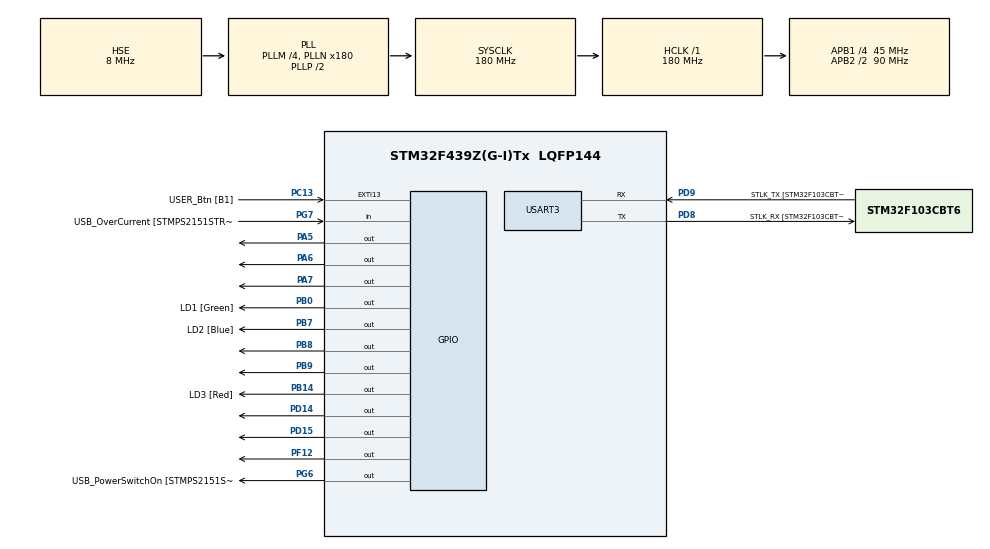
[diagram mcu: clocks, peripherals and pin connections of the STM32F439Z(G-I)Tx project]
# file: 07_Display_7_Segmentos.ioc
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Mcu.Family=STM32F4
Mcu.Name=STM32F439Z(G-I)Tx
Mcu.Package=LQFP144
NVIC.PriorityGroup=NVIC_PRIORITYGROUP_4
PA13.GPIO_Label=TMS
PA13.Mode=Serial_Wire
PA13.Signal=SYS_JTMS-SWDIO
PA14.GPIO_Label=TCK
PA14.Mode=Serial_Wire
PA14.Signal=SYS_JTCK-SWCLK
PA5.Signal=GPIO_Output
PA6.Signal=GPIO_Output
PA7.Signal=GPIO_Output
PB0.GPIO_Label=LD1 [Green]
PB0.Signal=GPIO_Output
PB14.GPIO_Label=LD3 [Red]
PB14.Signal=GPIO_Output
PB7.GPIO_Label=LD2 [Blue]
PB7.Signal=GPIO_Output
PB8.Signal=GPIO_Output
PB9.Signal=GPIO_Output
PC13.GPIO_Label=USER_Btn [B1]
PC13.Signal=GPXTI13
PC14/OSC32_IN.Mode=LSE-External-Oscillator
PC14/OSC32_IN.Signal=RCC_OSC32_IN
PC15/OSC32_OUT.Mode=LSE-External-Oscillator
PC15/OSC32_OUT.Signal=RCC_OSC32_OUT
PD14.Signal=GPIO_Output
PD15.Signal=GPIO_Output
PD8.GPIO_Label=STLK_RX [STM32F103CBT6_PA3]
PD8.Mode=Asynchronous
PD8.Signal=USART3_TX
PD9.GPIO_Label=STLK_TX [STM32F103CBT6_PA2]
PD9.Mode=Asynchronous
PD9.Signal=USART3_RX
PF12.Signal=GPIO_Output
PG6.GPIO_Label=USB_PowerSwitchOn [STMPS2151STR_EN]
PG6.Signal=GPIO_Output
PG7.GPIO_Label=USB_OverCurrent [STMPS2151STR_FAULT]
PG7.Signal=GPIO_Input
PH0/OSC_IN.GPIO_Label=MCO [STM32F103CBT6_PA8]
PH0/OSC_IN.Mode=HSE-External-Oscillator
PH0/OSC_IN.Signal=RCC_OSC_IN
PH1/OSC_OUT.Mode=HSE-External-Oscillator
PH1/OSC_OUT.Signal=RCC_OSC_OUT
ProjectManager.HeapSize=0x200
ProjectManager.StackSize=0x400
ProjectManager.TargetToolchain=STM32CubeIDE
RCC.48MHZClocksFreq_Value=51428571.428571425
RCC.AHBFreq_Value=180000000
RCC.APB1CLKDivider=RCC_HCLK_DIV4
RCC.APB1Freq_Value=45000000
RCC.APB1TimFreq_Value=90000000
RCC.APB2CLKDivider=RCC_HCLK_DIV2
RCC.APB2Freq_Value=90000000
RCC.APB2TimFreq_Value=180000000
RCC.CortexFreq_Value=180000000
RCC.HCLKFreq_Value=180000000
RCC.HSE_VALUE=8000000
RCC.HSI_VALUE=16000000
RCC.PLLM=4
RCC.PLLMUL=RCC_PLL_MUL9
RCC.PLLN=180
RCC.PLLQ=7
RCC.PLLSourceVirtual=RCC_PLLSOURCE_HSE
RCC.PRESCALERUSB=RCC_USBCLKSOURCE_PLL_DIV1_5
RCC.SYSCLKFreq_VALUE=180000000
RCC.SYSCLKSource=RCC_SYSCLKSOURCE_PLLCLK
RCC.SYSCLKSourceVirtual=RCC_SYSCLKSOURCE_PLLCLK
RCC.USBFreq_Value=48000000
RCC.VCOOutputFreq_Value=360000000
USART3.VirtualMode=VM_ASYNC
board=NUCLEO-F439ZI

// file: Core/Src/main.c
/* USER CODE BEGIN Header */
/**
  ******************************************************************************
  * @file           : main.c
  * @brief          : Main program body
  ******************************************************************************
  * @attention
  *
  * Copyright (c) 2026 STMicroelectronics.
  * All rights reserved.
  *
  * This software is licensed under terms that can be found in the LICENSE file
  * in the root directory of this software component.
  * If no LICENSE file comes with this software, it is provided AS-IS.
  *
  ******************************************************************************
  */
/* USER CODE END Header */
#include "main.h"

/* USER CODE BEGIN Includes */

#include <stdio.h>
#include <string.h>

/* USER CODE END Includes */

/* USER CODE BEGIN PTD */

// Representa un pin físico individual
typedef struct {
    GPIO_TypeDef* port;  // GPIOA, GPIOB, etc.
    uint16_t pin;       // GPIO_PIN_0, etc.
} GPIO_Config_t;

// Representa el display de catado comun
typedef struct {
    GPIO_Config_t* leds; // Puntero a un arreglo de configuraciones
    uint8_t count;       // Cantidad de LEDs
} LedBar_t;

/* USER CODE END PTD */

UART_HandleTypeDef huart3;

/* USER CODE BEGIN PV */

/* Mapa de bits para Cátodo Común (1 = Encendido) */
/* Orden de bits: 0 g f e d c b a */
const uint8_t segmento_map[] = {
    0x3F, // 0: 0011 1111
    0x06, // 1: 0000 0110
    0x5B, // 2: 0101 1011
    0x4F, // 3: 0100 1111
    0x66, // 4: 0110 0110
    0x6D, // 5: 0110 1101
    0x7D, // 6: 0111 1101
    0x07, // 7: 0000 0111
    0x7F, // 8: 0111 1111
    0x6F  // 9: 0110 1111
};

#define MAX_DIGITOS (sizeof(segmento_map) / sizeof(segmento_map[0]))

// Mapeo físico: Conecta los segmentos A-G a los pines que prefieras
GPIO_Config_t pines_display[] = {
    {GPIOB, GPIO_PIN_8}, // Segmento A
    {GPIOB, GPIO_PIN_9}, // Segmento B
    {GPIOA, GPIO_PIN_5}, // Segmento C
    {GPIOA, GPIO_PIN_6}, // Segmento D
    {GPIOA, GPIO_PIN_7}, // Segmento E
    {GPIOD, GPIO_PIN_14}, // Segmento F
    {GPIOD, GPIO_PIN_15}  // Segmento G
};
#define SEGMENT_COUNT (sizeof(pines_display) / sizeof(pines_display[0]))

LedBar_t miDisplay = {pines_display, SEGMENT_COUNT};

/* USER CODE END PV */

void SystemClock_Config(void);
static void MX_GPIO_Init(void);
static void MX_USART3_UART_Init(void);
/* USER CODE BEGIN PFP */

/* Prototipos */
void Debug_Log(const char *msg);

/* Función de escritura de dígito */
void Display_Write(uint8_t numero);

/* USER CODE END PFP */

/* USER CODE BEGIN 0 */

/* Función de escritura de dígito */
void Display_Write(uint8_t numero) {
    if (numero >= MAX_DIGITOS) return; // Protección

    uint8_t patron = segmento_map[numero];

    for (int i = 0; i < miDisplay.count; i++) {
        // Extraemos el bit 'i' usando desplazamiento y máscara
        uint8_t estado = (patron >> i) & 0x01;
        HAL_GPIO_WritePin(miDisplay.leds[i].port, miDisplay.leds[i].pin, estado);
    }
}

void Debug_Log(const char *msg) {
    HAL_UART_Transmit(&huart3, (uint8_t*)msg, strlen(msg), 100);
}

/* USER CODE END 0 */

int main(void)
{

  /* MCU Configuration--------------------------------------------------------*/

  /* Reset of all peripherals, Initializes the Flash interface and the Systick. */
  HAL_Init();

  /* Configure the system clock */
  SystemClock_Config();

  /* Initialize all configured peripherals */
  MX_GPIO_Init();
  MX_USART3_UART_Init();

  /* Infinite loop */
  while (1)
  {

    /* USER CODE BEGIN 3 */

	  // Contador simple de 0 a 9
	      for (uint8_t i = 0; i < MAX_DIGITOS; i++) {
	          char msg[32];
	          sprintf(msg, "Mostrando: %u\r\n", i);
	          Debug_Log(msg);

	          Display_Write(i);
	          HAL_Delay(1000);
	      }
  }
  /* USER CODE END 3 */
}

void SystemClock_Config(void)
{
  RCC_OscInitTypeDef RCC_OscInitStruct = {0};
  RCC_ClkInitTypeDef RCC_ClkInitStruct = {0};

  /** Configure the main internal regulator output voltage
  */
  __HAL_RCC_PWR_CLK_ENABLE();
  __HAL_PWR_VOLTAGESCALING_CONFIG(PWR_REGULATOR_VOLTAGE_SCALE1);

  /** Initializes the RCC Oscillators according to the specified parameters
  * in the RCC_OscInitTypeDef structure.
  */
  RCC_OscInitStruct.OscillatorType = RCC_OSCILLATORTYPE_HSE;
  RCC_OscInitStruct.HSEState = RCC_HSE_ON;
  RCC_OscInitStruct.PLL.PLLState = RCC_PLL_ON;
  RCC_OscInitStruct.PLL.PLLSource = RCC_PLLSOURCE_HSE;
  RCC_OscInitStruct.PLL.PLLM = 4;
  RCC_OscInitStruct.PLL.PLLN = 180;
  RCC_OscInitStruct.PLL.PLLP = RCC_PLLP_DIV2;
  RCC_OscInitStruct.PLL.PLLQ = 7;
  if (HAL_RCC_OscConfig(&RCC_OscInitStruct) != HAL_OK)
  {
    Error_Handler();
  }

  /** Activate the Over-Drive mode
  */
  if (HAL_PWREx_EnableOverDrive() != HAL_OK)
  {
    Error_Handler();
  }

  /** Initializes the CPU, AHB and APB buses clocks
  */
  RCC_ClkInitStruct.ClockType = RCC_CLOCKTYPE_HCLK|RCC_CLOCKTYPE_SYSCLK
                              |RCC_CLOCKTYPE_PCLK1|RCC_CLOCKTYPE_PCLK2;
  RCC_ClkInitStruct.SYSCLKSource = RCC_SYSCLKSOURCE_PLLCLK;
  RCC_ClkInitStruct.AHBCLKDivider = RCC_SYSCLK_DIV1;
  RCC_ClkInitStruct.APB1CLKDivider = RCC_HCLK_DIV4;
  RCC_ClkInitStruct.APB2CLKDivider = RCC_HCLK_DIV2;

  if (HAL_RCC_ClockConfig(&RCC_ClkInitStruct, FLASH_LATENCY_5) != HAL_OK)
  {
    Error_Handler();
  }
}

static void MX_USART3_UART_Init(void)
{

  huart3.Instance = USART3;
  huart3.Init.BaudRate = 115200;
  huart3.Init.WordLength = UART_WORDLENGTH_8B;
  huart3.Init.StopBits = UART_STOPBITS_1;
  huart3.Init.Parity = UART_PARITY_NONE;
  huart3.Init.Mode = UART_MODE_TX_RX;
  huart3.Init.HwFlowCtl = UART_HWCONTROL_NONE;
  huart3.Init.OverSampling = UART_OVERSAMPLING_16;
  if (HAL_UART_Init(&huart3) != HAL_OK)
  {
    Error_Handler();
  }

}

static void MX_GPIO_Init(void)
{
  GPIO_InitTypeDef GPIO_InitStruct = {0};

  /* GPIO Ports Clock Enable */
  __HAL_RCC_GPIOC_CLK_ENABLE();
  __HAL_RCC_GPIOH_CLK_ENABLE();
  __HAL_RCC_GPIOA_CLK_ENABLE();
  __HAL_RCC_GPIOB_CLK_ENABLE();
  __HAL_RCC_GPIOF_CLK_ENABLE();
  __HAL_RCC_GPIOD_CLK_ENABLE();
  __HAL_RCC_GPIOG_CLK_ENABLE();

  /*Configure GPIO pin Output Level */
  HAL_GPIO_WritePin(GPIOA, GPIO_PIN_5|GPIO_PIN_6|GPIO_PIN_7, GPIO_PIN_RESET);

  /*Configure GPIO pin Output Level */
  HAL_GPIO_WritePin(GPIOB, LD1_Pin|LD3_Pin|LD2_Pin|GPIO_PIN_8
                          |GPIO_PIN_9, GPIO_PIN_RESET);

  /*Configure GPIO pin Output Level */
  HAL_GPIO_WritePin(GPIOF, GPIO_PIN_12, GPIO_PIN_RESET);

  /*Configure GPIO pin Output Level */
  HAL_GPIO_WritePin(GPIOD, GPIO_PIN_14|GPIO_PIN_15, GPIO_PIN_RESET);

  /*Configure GPIO pin Output Level */
  HAL_GPIO_WritePin(USB_PowerSwitchOn_GPIO_Port, USB_PowerSwitchOn_Pin, GPIO_PIN_RESET);

  /*Configure GPIO pin : USER_Btn_Pin */
  GPIO_InitStruct.Pin = USER_Btn_Pin;
  GPIO_InitStruct.Mode = GPIO_MODE_IT_RISING;
  GPIO_InitStruct.Pull = GPIO_NOPULL;
  HAL_GPIO_Init(USER_Btn_GPIO_Port, &GPIO_InitStruct);

  /*Configure GPIO pins : PA5 PA6 PA7 */
  GPIO_InitStruct.Pin = GPIO_PIN_5|GPIO_PIN_6|GPIO_PIN_7;
  GPIO_InitStruct.Mode = GPIO_MODE_OUTPUT_PP;
  GPIO_InitStruct.Pull = GPIO_NOPULL;
  GPIO_InitStruct.Speed = GPIO_SPEED_FREQ_LOW;
  HAL_GPIO_Init(GPIOA, &GPIO_InitStruct);

  /*Configure GPIO pins : LD1_Pin LD3_Pin LD2_Pin PB8
                           PB9 */
  GPIO_InitStruct.Pin = LD1_Pin|LD3_Pin|LD2_Pin|GPIO_PIN_8
                          |GPIO_PIN_9;
  GPIO_InitStruct.Mode = GPIO_MODE_OUTPUT_PP;
  GPIO_InitStruct.Pull = GPIO_NOPULL;
  GPIO_InitStruct.Speed = GPIO_SPEED_FREQ_LOW;
  HAL_GPIO_Init(GPIOB, &GPIO_InitStruct);

  /*Configure GPIO pin : PF12 */
  GPIO_InitStruct.Pin = GPIO_PIN_12;
  GPIO_InitStruct.Mode = GPIO_MODE_OUTPUT_PP;
  GPIO_InitStruct.Pull = GPIO_NOPULL;
  GPIO_InitStruct.Speed = GPIO_SPEED_FREQ_LOW;
  HAL_GPIO_Init(GPIOF, &GPIO_InitStruct);

  /*Configure GPIO pins : PD14 PD15 */
  GPIO_InitStruct.Pin = GPIO_PIN_14|GPIO_PIN_15;
  GPIO_InitStruct.Mode = GPIO_MODE_OUTPUT_PP;
  GPIO_InitStruct.Pull = GPIO_NOPULL;
  GPIO_InitStruct.Speed = GPIO_SPEED_FREQ_LOW;
  HAL_GPIO_Init(GPIOD, &GPIO_InitStruct);

  /*Configure GPIO pin : USB_PowerSwitchOn_Pin */
  GPIO_InitStruct.Pin = USB_PowerSwitchOn_Pin;
  GPIO_InitStruct.Mode = GPIO_MODE_OUTPUT_PP;
  GPIO_InitStruct.Pull = GPIO_NOPULL;
  GPIO_InitStruct.Speed = GPIO_SPEED_FREQ_LOW;
  HAL_GPIO_Init(USB_PowerSwitchOn_GPIO_Port, &GPIO_InitStruct);

  /*Configure GPIO pin : USB_OverCurrent_Pin */
  GPIO_InitStruct.Pin = USB_OverCurrent_Pin;
  GPIO_InitStruct.Mode = GPIO_MODE_INPUT;
  GPIO_InitStruct.Pull = GPIO_NOPULL;
  HAL_GPIO_Init(USB_OverCurrent_GPIO_Port, &GPIO_InitStruct);

}

void Error_Handler(void)
{
  __disable_irq();
  while (1)
  {
  }
}
